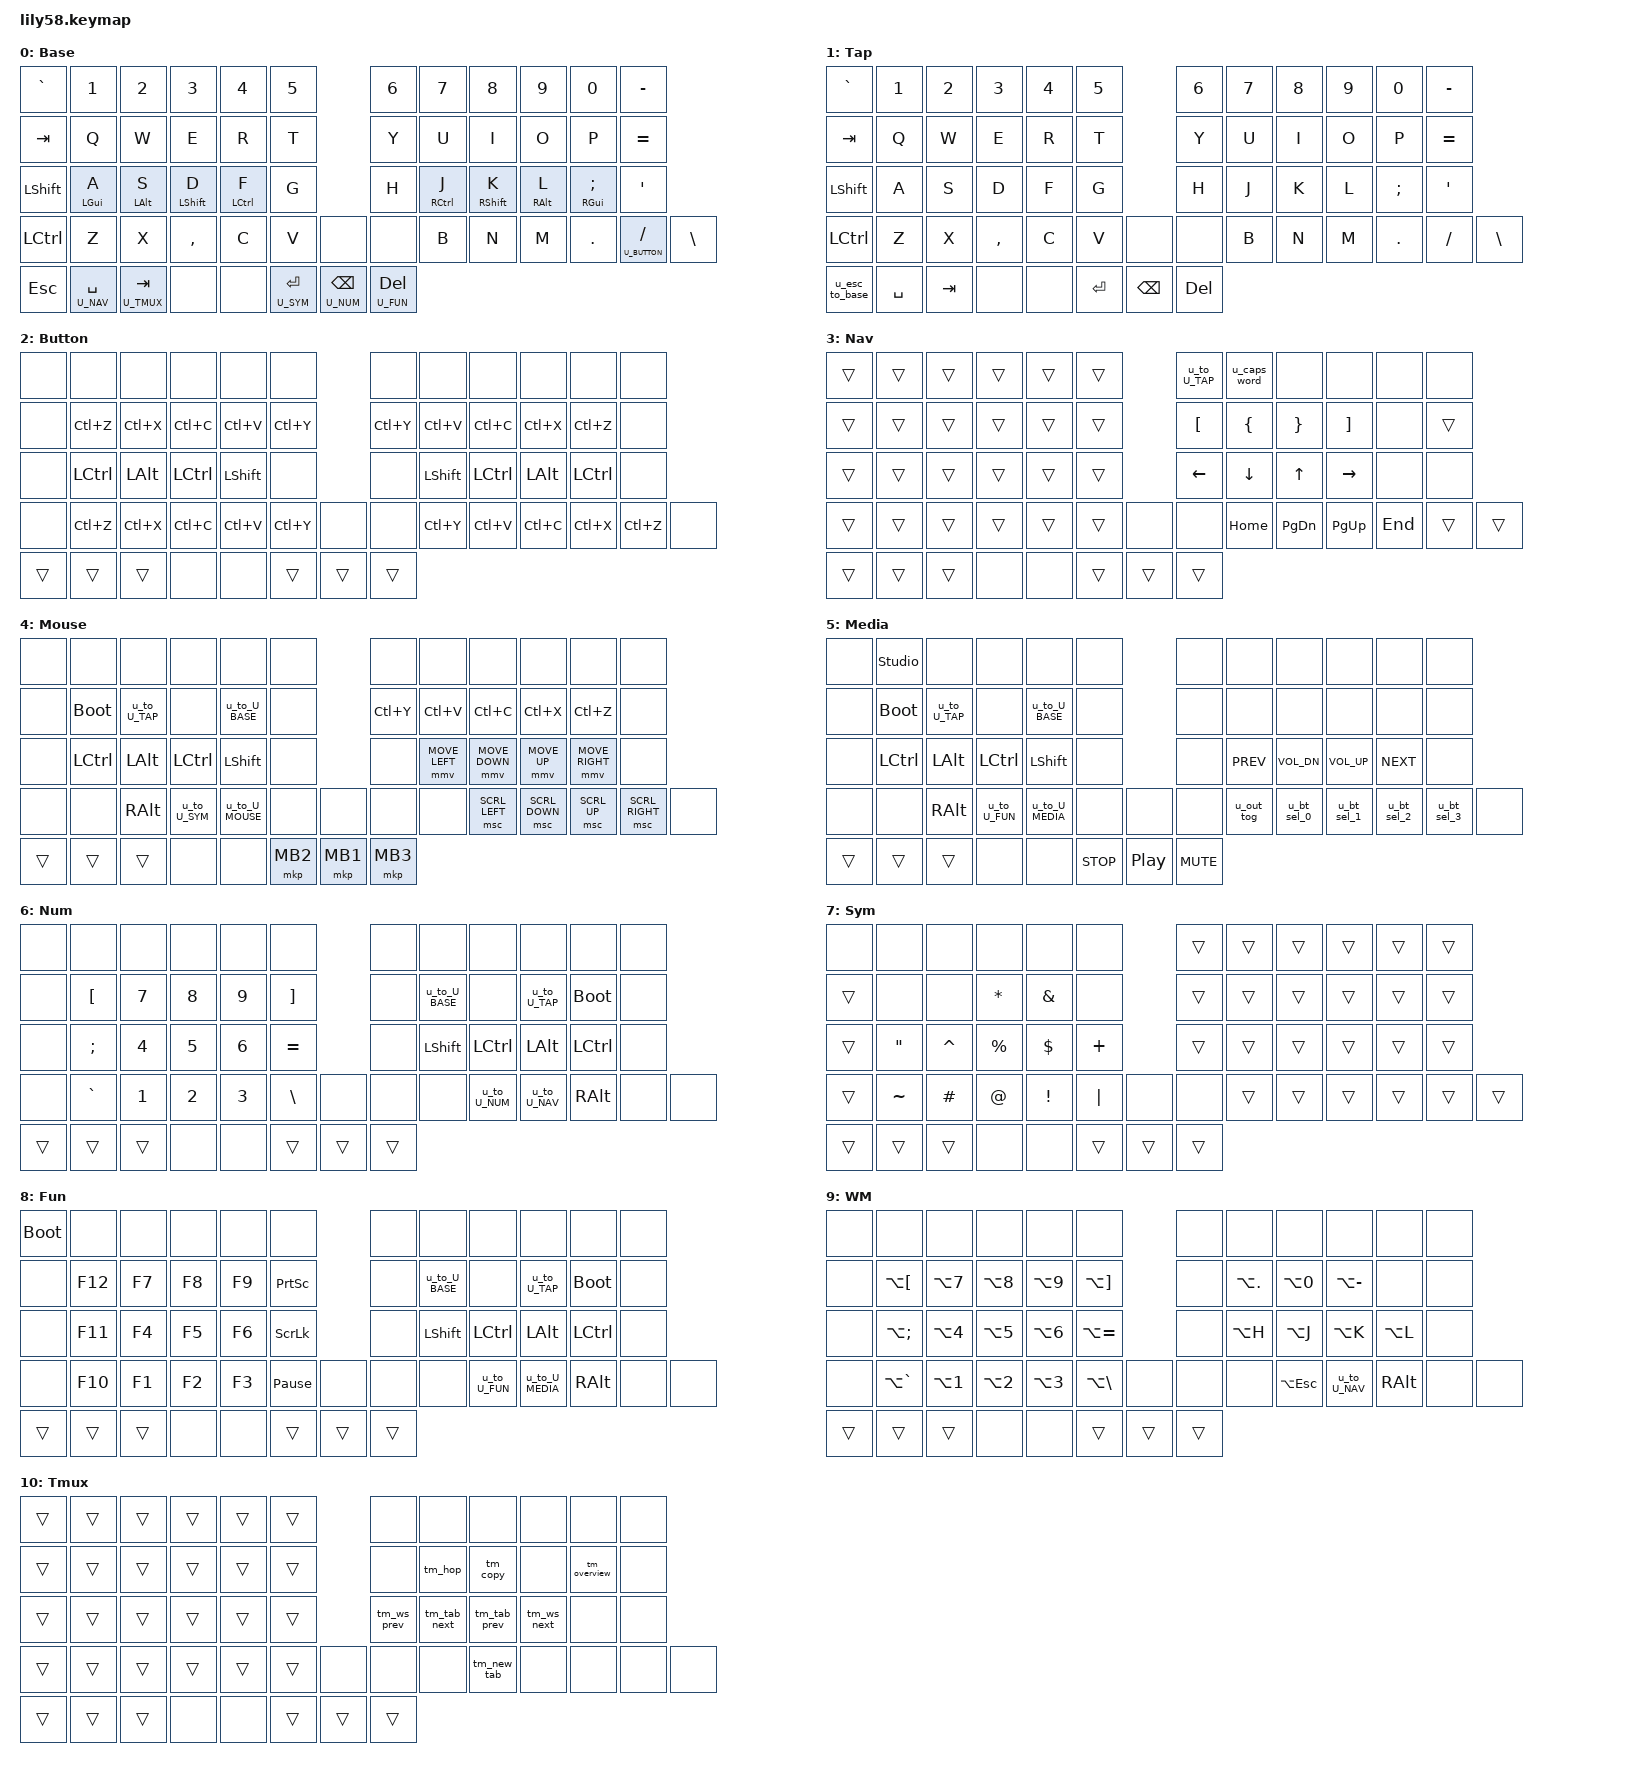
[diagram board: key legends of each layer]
/*
 * Silakka54 (built as the upstream ZMK lily58 shield) — QWERTY, GASC
 * home-row mods. Mirrors config/eyelash_sofle.keymap: same layers 0–10 at
 * the same indices, same behaviors and macros, same bindings wherever the
 * key exists on this board.
 *
 * lily58 matrix, 58 positions per layer:
 *   Rows 0–2: 6 left + 6 right = 12
 *   Row 3:    6 left + 2 inner + 6 right = 14
 *   Row 4:    4 left thumbs + 4 right thumbs = 8
 * Silakka54 has 54 keys. The 2 inner row-3 keys and the innermost thumb on
 * each side are not fitted, so those 4 slots are &none on every layer.
 *
 * Thumbs, left outer→inner, then right inner→outer:
 *   Esc, Space/Nav, Tab/Tmux, (missing) | (missing), Enter/Sym, Backspace/Num, Del/Fun
 *
 * Tradeoffs against the Sofle (64 keys, encoder, 5-way hat, 5 thumbs a side):
 *   - Hat column (arrows on Base/Tap, mouse move on Mouse/Eye*, hat click):
 *     dropped. Arrows are on Nav (hold Space); mouse movement is on Mouse.
 *   - Encoder (click = mute, rotate = volume, scroll on Mouse): dropped.
 *     Volume is on Media's right home row; Media's right thumbs are
 *     Stop / Play-Pause / Mute (from the old Lily58 keymap).
 *   - Two spare (&none) left outer thumbs: dropped. Esc, Space/Nav and
 *     Tab/Tmux keep their Sofle order on the three fitted left thumbs.
 *   - Eyelash 1 / Eyelash 2 thumbs and layers 11–12 (vendor F-keys, RGB,
 *     mouse clicks, BT, reset): dropped; this board has no thumb for them
 *     and no RGB. F-keys are on Fun, BT/output on Media, bootloader on
 *     Fun/Num/Mouse/Media.
 *   - Mouse clicks came from the Eyelash layers on the Sofle. Here Mouse's
 *     right thumbs are Button 2 / Button 1 / Button 3 (from the old Lily58
 *     keymap) so the mouse layer is usable without them.
 *   - No sensor-bindings on any layer (no encoder enabled on this build).
 *
 * Clipboard macros send Ctrl.
 */

#include <behaviors.dtsi>
#include <behaviors/mouse_keys.dtsi>
#include <dt-bindings/zmk/keys.h>
#include <dt-bindings/zmk/bt.h>
#include <dt-bindings/zmk/outputs.h>
#include <dt-bindings/zmk/pointing.h>

/* ── Layer indices ─────────────────────────────────────────────── */
#define U_BASE   0
#define U_TAP    1
#define U_BUTTON 2
#define U_NAV    3
#define U_MOUSE  4
#define U_MEDIA  5
#define U_NUM    6
#define U_SYM    7
#define U_FUN    8
#define U_WM     9
#define U_TMUX   10

/* ── Mouse defaults ────────────────────────────────────────────── */
#define ZMK_POINTING_DEFAULT_MOVE_VAL 1250
#define ZMK_POINTING_DEFAULT_SCRL_VAL 100

/* ── Clipboard (Windows) ───────────────────────────────────────── */
#define U_RDO &kp LC(Y)
#define U_PST &kp LC(V)
#define U_CPY &kp LC(C)
#define U_CUT &kp LC(X)
#define U_UND &kp LC(Z)

/* ── Mouse key aliases ─────────────────────────────────────────── */
#define U_BTN1 &mkp MB1
#define U_BTN2 &mkp MB2
#define U_BTN3 &mkp MB3
#define U_MS_D &mmv MOVE_DOWN
#define U_MS_L &mmv MOVE_LEFT
#define U_MS_R &mmv MOVE_RIGHT
#define U_MS_U &mmv MOVE_UP
#define U_WH_D &msc SCRL_DOWN
#define U_WH_L &msc SCRL_LEFT
#define U_WH_R &msc SCRL_RIGHT
#define U_WH_U &msc SCRL_UP

/* ── Mouse movement tuning ─────────────────────────────────────── */
&mmv {
    acceleration-exponent = <1>;
    time-to-max-speed-ms = <1500>;
    delay-ms = <0>;
};

/* ── Macros ────────────────────────────────────────────────────── */
/ {
    macros {
        u_macro_u_bt_sel_0: u_macro_u_bt_sel_0 {
            compatible = "zmk,behavior-macro";
            #binding-cells = <0>;
            wait-ms = <0>;
            bindings = <&bt BT_SEL 0 &bt BT_CLR>;
        };
        u_macro_u_bt_sel_1: u_macro_u_bt_sel_1 {
            compatible = "zmk,behavior-macro";
            #binding-cells = <0>;
            wait-ms = <0>;
            bindings = <&bt BT_SEL 1 &bt BT_CLR>;
        };
        u_macro_u_bt_sel_2: u_macro_u_bt_sel_2 {
            compatible = "zmk,behavior-macro";
            #binding-cells = <0>;
            wait-ms = <0>;
            bindings = <&bt BT_SEL 2 &bt BT_CLR>;
        };
        u_macro_u_bt_sel_3: u_macro_u_bt_sel_3 {
            compatible = "zmk,behavior-macro";
            #binding-cells = <0>;
            wait-ms = <0>;
            bindings = <&bt BT_SEL 3 &bt BT_CLR>;
        };
        u_macro_u_bt_sel_4: u_macro_u_bt_sel_4 {
            compatible = "zmk,behavior-macro";
            #binding-cells = <0>;
            wait-ms = <0>;
            bindings = <&bt BT_SEL 4 &bt BT_CLR>;
        };

        /* TMUX layer — tmux and herdr actions. Both use Ctrl-b as the prefix,
           so every binding sends the prefix as its own tap, then the action
           key: both want the prefix RELEASED before that key, so these must be
           two taps and never a three-key chord. Trimmed to the herdr actions
           actually used: workspaces on H/L, tab prev/next on J/K, new tab on
           N, the picker on P, hop and copy mode on U/I. 40/40 is a starting
           point — if the prefix is swallowed, raise it (80–120).
           Host-side binds needed in herdr (config.toml): next_workspace /
           previous_workspace on prefix+l / prefix+h, hop on prefix+a, copy
           mode on prefix+[; and prompt_new_tab_name = false under [ui]. */
        /* Workspace prev/next: herdr prefix+h / prefix+l. */
        tm_ws_prev: tm_ws_prev {
            compatible = "zmk,behavior-macro";
            #binding-cells = <0>;
            wait-ms = <40>;
            tap-ms = <40>;
            bindings = <&kp LC(B) &kp H>;
        };
        tm_ws_next: tm_ws_next {
            compatible = "zmk,behavior-macro";
            #binding-cells = <0>;
            wait-ms = <40>;
            tap-ms = <40>;
            bindings = <&kp LC(B) &kp L>;
        };
        /* Hop: a hop-style path picker, herdr prefix+a. */
        tm_hop: tm_hop {
            compatible = "zmk,behavior-macro";
            #binding-cells = <0>;
            wait-ms = <40>;
            tap-ms = <40>;
            bindings = <&kp LC(B) &kp A>;
        };
        /* Copy mode: herdr prefix+[ . */
        tm_copy: tm_copy {
            compatible = "zmk,behavior-macro";
            #binding-cells = <0>;
            wait-ms = <40>;
            tap-ms = <40>;
            bindings = <&kp LC(B) &kp LBKT>;
        };
        tm_tab_next: tm_tab_next {
            compatible = "zmk,behavior-macro";
            #binding-cells = <0>;
            wait-ms = <40>;
            tap-ms = <40>;
            bindings = <&kp LC(B) &kp N>;
        };
        tm_tab_prev: tm_tab_prev {
            compatible = "zmk,behavior-macro";
            #binding-cells = <0>;
            wait-ms = <40>;
            tap-ms = <40>;
            bindings = <&kp LC(B) &kp P>;
        };
        tm_new_tab: tm_new_tab {
            compatible = "zmk,behavior-macro";
            #binding-cells = <0>;
            wait-ms = <40>;
            tap-ms = <40>;
            bindings = <&kp LC(B) &kp C>;
        };
        tm_overview: tm_overview {
            compatible = "zmk,behavior-macro";
            #binding-cells = <0>;
            wait-ms = <40>;
            tap-ms = <40>;
            bindings = <&kp LC(B) &kp W>;
        };
    };
};

/* ── Behaviors ─────────────────────────────────────────────────── */
/ {
    behaviors {
        /* Home-row mods. Tap-preferred so a roll still types the letter. */
        u_mt: u_mt {
            compatible = "zmk,behavior-hold-tap";
            #binding-cells = <2>;
            tapping-term-ms = <250>;
            require-prior-idle-ms = <120>;
            flavor = "tap-preferred";
            bindings = <&kp>, <&kp>;
        };

        /* Hold = momentary layer, tap = key. */
        u_lt: u_lt {
            compatible = "zmk,behavior-hold-tap";
            #binding-cells = <2>;
            tapping-term-ms = <250>;
            require-prior-idle-ms = <120>;
            flavor = "tap-preferred";
            bindings = <&mo>, <&kp>;
        };

        u_bt_sel_0: u_bt_sel_0 {
            compatible = "zmk,behavior-mod-morph";
            #binding-cells = <0>;
            bindings = <&bt BT_SEL 0>, <&u_macro_u_bt_sel_0>;
            mods = <(MOD_LSFT|MOD_RSFT)>;
        };
        u_bt_sel_1: u_bt_sel_1 {
            compatible = "zmk,behavior-mod-morph";
            #binding-cells = <0>;
            bindings = <&bt BT_SEL 1>, <&u_macro_u_bt_sel_1>;
            mods = <(MOD_LSFT|MOD_RSFT)>;
        };
        u_bt_sel_2: u_bt_sel_2 {
            compatible = "zmk,behavior-mod-morph";
            #binding-cells = <0>;
            bindings = <&bt BT_SEL 2>, <&u_macro_u_bt_sel_2>;
            mods = <(MOD_LSFT|MOD_RSFT)>;
        };
        u_bt_sel_3: u_bt_sel_3 {
            compatible = "zmk,behavior-mod-morph";
            #binding-cells = <0>;
            bindings = <&bt BT_SEL 3>, <&u_macro_u_bt_sel_3>;
            mods = <(MOD_LSFT|MOD_RSFT)>;
        };
        u_bt_sel_4: u_bt_sel_4 {
            compatible = "zmk,behavior-mod-morph";
            #binding-cells = <0>;
            bindings = <&bt BT_SEL 4>, <&u_macro_u_bt_sel_4>;
            mods = <(MOD_LSFT|MOD_RSFT)>;
        };

        u_out_tog: u_out_tog {
            compatible = "zmk,behavior-mod-morph";
            #binding-cells = <0>;
            bindings = <&out OUT_TOG>, <&out OUT_USB>;
            mods = <(MOD_LSFT|MOD_RSFT)>;
        };

        u_caps_word: u_caps_word {
            compatible = "zmk,behavior-mod-morph";
            #binding-cells = <0>;
            bindings = <&caps_word>, <&kp CAPS>;
            mods = <(MOD_LSFT|MOD_RSFT)>;
        };

        /* Double-tap guards: require a second tap to lock a layer. */
        u_to_U_BASE: u_to_U_BASE {
            compatible = "zmk,behavior-tap-dance";
            #binding-cells = <0>;
            tapping-term-ms = <200>;
            bindings = <&none>, <&to U_BASE>;
        };
        u_to_U_TAP: u_to_U_TAP {
            compatible = "zmk,behavior-tap-dance";
            #binding-cells = <0>;
            tapping-term-ms = <200>;
            bindings = <&none>, <&to U_TAP>;
        };
        u_to_U_BUTTON: u_to_U_BUTTON {
            compatible = "zmk,behavior-tap-dance";
            #binding-cells = <0>;
            tapping-term-ms = <200>;
            bindings = <&none>, <&to U_BUTTON>;
        };
        u_to_U_NAV: u_to_U_NAV {
            compatible = "zmk,behavior-tap-dance";
            #binding-cells = <0>;
            tapping-term-ms = <200>;
            bindings = <&none>, <&to U_NAV>;
        };
        u_to_U_MOUSE: u_to_U_MOUSE {
            compatible = "zmk,behavior-tap-dance";
            #binding-cells = <0>;
            tapping-term-ms = <200>;
            bindings = <&none>, <&to U_MOUSE>;
        };
        u_to_U_MEDIA: u_to_U_MEDIA {
            compatible = "zmk,behavior-tap-dance";
            #binding-cells = <0>;
            tapping-term-ms = <200>;
            bindings = <&none>, <&to U_MEDIA>;
        };
        u_to_U_NUM: u_to_U_NUM {
            compatible = "zmk,behavior-tap-dance";
            #binding-cells = <0>;
            tapping-term-ms = <200>;
            bindings = <&none>, <&to U_NUM>;
        };
        u_to_U_SYM: u_to_U_SYM {
            compatible = "zmk,behavior-tap-dance";
            #binding-cells = <0>;
            tapping-term-ms = <200>;
            bindings = <&none>, <&to U_SYM>;
        };
        u_to_U_FUN: u_to_U_FUN {
            compatible = "zmk,behavior-tap-dance";
            #binding-cells = <0>;
            tapping-term-ms = <200>;
            bindings = <&none>, <&to U_FUN>;
        };
        u_to_U_WM: u_to_U_WM {
            compatible = "zmk,behavior-tap-dance";
            #binding-cells = <0>;
            tapping-term-ms = <200>;
            bindings = <&none>, <&to U_WM>;
        };

        /* Esc tap, double-tap leaves the Tap layer. */
        u_esc_to_base: u_esc_to_base {
            compatible = "zmk,behavior-tap-dance";
            #binding-cells = <0>;
            tapping-term-ms = <200>;
            bindings = <&kp ESC>, <&to U_BASE>;
        };
    };
};

/ {
    keymap {
        compatible = "zmk,keymap";

        /* 0: BASE — QWERTY, GASC on the home row. */
        BASE {
            display-name = "Base";
            bindings = <
&kp GRAVE &kp N1 &kp N2 &kp N3 &kp N4 &kp N5  &kp N6 &kp N7 &kp N8 &kp N9 &kp N0 &kp MINUS
&kp TAB &kp Q &kp W &kp E &kp R &kp T  &kp Y &kp U &kp I &kp O &kp P &kp EQUAL
&kp LSHFT &u_mt LGUI A &u_mt LALT S &u_mt LSHFT D &u_mt LCTRL F &kp G  &kp H &u_mt RCTRL J &u_mt RSHFT K &u_mt RALT L &u_mt RGUI SEMI &kp SQT
&kp LCTRL &kp Z &kp X &kp COMMA &kp C &kp V  &none &none  &kp B &kp N &kp M &kp DOT &u_lt U_BUTTON SLASH &kp BSLH
&kp ESC &u_lt U_NAV SPACE &u_lt U_TMUX TAB  &none &none  &u_lt U_SYM RET &u_lt U_NUM BSPC &u_lt U_FUN DEL
            >;
        };

        /* 1: TAP — same QWERTY letters, no hold-taps. Double-tap Esc returns to Base. */
        TAP {
            display-name = "Tap";
            bindings = <
&kp GRAVE &kp N1 &kp N2 &kp N3 &kp N4 &kp N5  &kp N6 &kp N7 &kp N8 &kp N9 &kp N0 &kp MINUS
&kp TAB &kp Q &kp W &kp E &kp R &kp T  &kp Y &kp U &kp I &kp O &kp P &kp EQUAL
&kp LSHFT &kp A &kp S &kp D &kp F &kp G  &kp H &kp J &kp K &kp L &kp SEMI &kp SQT
&kp LCTRL &kp Z &kp X &kp COMMA &kp C &kp V  &none &none  &kp B &kp N &kp M &kp DOT &kp SLASH &kp BSLH
&u_esc_to_base &kp SPACE &kp TAB  &none &none  &kp RET &kp BSPC &kp DEL
            >;
        };

        /* 2: BUTTON — clipboard. Thumbs fall through to Base. */
        BUTTON {
            display-name = "Button";
            bindings = <
&none &none &none &none &none &none  &none &none &none &none &none &none
&none U_UND U_CUT U_CPY U_PST U_RDO  U_RDO U_PST U_CPY U_CUT U_UND &none
&none &kp LCTRL &kp LALT &kp LCTRL &kp LSHFT &none  &none &kp LSHFT &kp LCTRL &kp LALT &kp LCTRL &none
&none U_UND U_CUT U_CPY U_PST U_RDO  &none &none  U_RDO U_PST U_CPY U_CUT U_UND &none
&trans &trans &trans  &none &none  &trans &trans &trans
            >;
        };

        /* 3: NAV — hold Space. */
        NAV {
            display-name = "Nav";
            bindings = <
&trans &trans &trans &trans &trans &trans  &u_to_U_TAP &u_caps_word &none &none &none &none
&trans &trans &trans &trans &trans &trans  &kp LBKT &kp LBRC &kp RBRC &kp RBKT &none &trans
&trans &trans &trans &trans &trans &trans  &kp LEFT &kp DOWN &kp UP &kp RIGHT &none &none
&trans &trans &trans &trans &trans &trans  &none &none  &kp HOME &kp PG_DN &kp PG_UP &kp END &trans &trans
&trans &trans &trans  &none &none  &trans &trans &trans
            >;
        };

        /* 4: MOUSE — right thumbs are mouse buttons here (Sofle: Eyelash layers). */
        MOUSE {
            display-name = "Mouse";
            bindings = <
&none &none &none &none &none &none  &none &none &none &none &none &none
&none &bootloader &u_to_U_TAP &none &u_to_U_BASE &none  U_RDO U_PST U_CPY U_CUT U_UND &none
&none &kp LCTRL &kp LALT &kp LCTRL &kp LSHFT &none  &none U_MS_L U_MS_D U_MS_U U_MS_R &none
&none &none &kp RALT &u_to_U_SYM &u_to_U_MOUSE &none  &none &none  &none U_WH_L U_WH_D U_WH_U U_WH_R &none
&trans &trans &trans  &none &none  U_BTN2 U_BTN1 U_BTN3
            >;
        };

        /* 5: MEDIA — Bluetooth, output, studio unlock. Right thumbs replace the encoder. */
        MEDIA {
            display-name = "Media";
            bindings = <
&none &studio_unlock &none &none &none &none  &none &none &none &none &none &none
&none &bootloader &u_to_U_TAP &none &u_to_U_BASE &none  &none &none &none &none &none &none
&none &kp LCTRL &kp LALT &kp LCTRL &kp LSHFT &none  &none &kp C_PREV &kp C_VOL_DN &kp C_VOL_UP &kp C_NEXT &none
&none &none &kp RALT &u_to_U_FUN &u_to_U_MEDIA &none  &none &none  &u_out_tog &u_bt_sel_0 &u_bt_sel_1 &u_bt_sel_2 &u_bt_sel_3 &none
&trans &trans &trans  &none &none  &kp C_STOP &kp C_PP &kp C_MUTE
            >;
        };

        /* 6: NUM */
        NUM {
            display-name = "Num";
            bindings = <
&none &none &none &none &none &none  &none &none &none &none &none &none
&none &kp LBKT &kp N7 &kp N8 &kp N9 &kp RBKT  &none &u_to_U_BASE &none &u_to_U_TAP &bootloader &none
&none &kp SEMI &kp N4 &kp N5 &kp N6 &kp EQUAL  &none &kp LSHFT &kp LCTRL &kp LALT &kp LCTRL &none
&none &kp GRAVE &kp N1 &kp N2 &kp N3 &kp BSLH  &none &none  &none &u_to_U_NUM &u_to_U_NAV &kp RALT &none &none
&trans &trans &trans  &none &none  &trans &trans &trans
            >;
        };

        /* 7: SYM */
        SYM {
            display-name = "Sym";
            bindings = <
&none &none &none &none &none &none  &trans &trans &trans &trans &trans &trans
&trans &none &none &kp ASTRK &kp AMPS &none  &trans &trans &trans &trans &trans &trans
&trans &kp DQT &kp CARET &kp PRCNT &kp DLLR &kp PLUS  &trans &trans &trans &trans &trans &trans
&trans &kp TILDE &kp HASH &kp AT &kp EXCL &kp PIPE  &none &none  &trans &trans &trans &trans &trans &trans
&trans &trans &trans  &none &none  &trans &trans &trans
            >;
        };

        /* 8: FUN — held on Delete. */
        FUN {
            display-name = "Fun";
            bindings = <
&bootloader &none &none &none &none &none  &none &none &none &none &none &none
&none &kp F12 &kp F7 &kp F8 &kp F9 &kp PSCRN  &none &u_to_U_BASE &none &u_to_U_TAP &bootloader &none
&none &kp F11 &kp F4 &kp F5 &kp F6 &kp SLCK  &none &kp LSHFT &kp LCTRL &kp LALT &kp LCTRL &none
&none &kp F10 &kp F1 &kp F2 &kp F3 &kp PAUSE_BREAK  &none &none  &none &u_to_U_FUN &u_to_U_MEDIA &kp RALT &none &none
&trans &trans &trans  &none &none  &trans &trans &trans
            >;
        };

        /* 9: WM — AeroSpace. No key opens this layer yet. */
        WM {
            display-name = "WM";
            bindings = <
&none &none &none &none &none &none  &none &none &none &none &none &none
&none &kp LA(LBKT) &kp LA(N7) &kp LA(N8) &kp LA(N9) &kp LA(RBKT)  &none &kp LA(DOT) &kp LA(N0) &kp LA(MINUS) &none &none
&none &kp LA(SEMI) &kp LA(N4) &kp LA(N5) &kp LA(N6) &kp LA(EQUAL)  &none &kp LA(H) &kp LA(J) &kp LA(K) &kp LA(L) &none
&none &kp LA(GRAVE) &kp LA(N1) &kp LA(N2) &kp LA(N3) &kp LA(BSLH)  &none &none  &none &kp LA(ESC) &u_to_U_NAV &kp RALT &none &none
&trans &trans &trans  &none &none  &trans &trans &trans
            >;
        };

        /* 10: TMUX — tmux/herdr actions. Hold Tab. Left hand falls through, so
           typing continues. Trimmed to the herdr actions in use: H/L switch
           workspace, J/K move between tabs, N opens a tab, P is the picker,
           U hops, I enters copy mode. */
        TMUX {
            display-name = "Tmux";
            bindings = <
&trans &trans &trans &trans &trans &trans  &none &none &none &none &none &none
&trans &trans &trans &trans &trans &trans  &none &tm_hop &tm_copy &none &tm_overview &none
&trans &trans &trans &trans &trans &trans  &tm_ws_prev &tm_tab_next &tm_tab_prev &tm_ws_next &none &none
&trans &trans &trans &trans &trans &trans  &none &none  &none &tm_new_tab &none &none &none &none
&trans &trans &trans  &none &none  &trans &trans &trans
            >;
        };
    };
};
